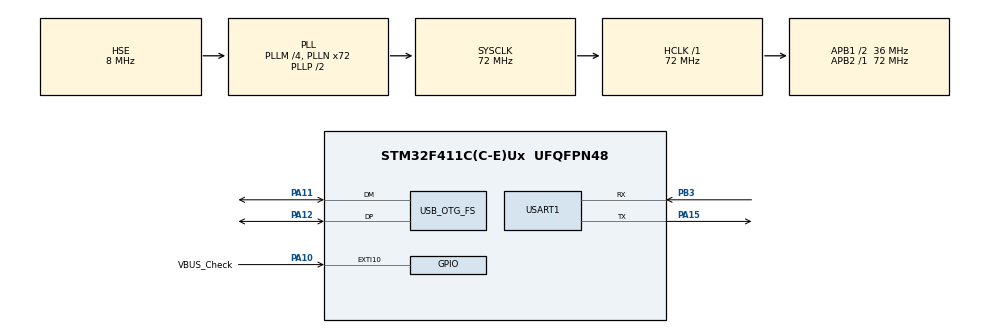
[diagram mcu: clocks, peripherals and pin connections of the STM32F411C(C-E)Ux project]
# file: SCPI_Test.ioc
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FREERTOS.Queues01=USB_ReceiveChar,256,char,0,Dynamic,NULL,NULL
FREERTOS.Tasks01=scpi_task,24,256,scpi_Task,Default,NULL,Dynamic,NULL,NULL
FREERTOS.configENABLE_FPU=1
Mcu.Family=STM32F4
Mcu.Name=STM32F411C(C-E)Ux
Mcu.Package=UFQFPN48
NVIC.EXTI15_10_IRQn=true\:5\:0\:false\:false\:true\:true\:true\:true\:true
NVIC.OTG_FS_IRQn=true\:5\:0\:false\:false\:true\:true\:false\:true\:true
NVIC.PriorityGroup=NVIC_PRIORITYGROUP_4
NVIC.TIM1_TRG_COM_TIM11_IRQn=true\:15\:0\:false\:false\:true\:false\:false\:true\:true
NVIC.TimeBase=TIM1_TRG_COM_TIM11_IRQn
NVIC.TimeBaseIP=TIM11
PA10.GPIO_Label=VBUS_Check
PA10.GPIO_ModeDefaultEXTI=GPIO_MODE_IT_RISING_FALLING
PA10.Signal=GPXTI10
PA11.Mode=Device_Only
PA11.Signal=USB_OTG_FS_DM
PA12.Mode=Device_Only
PA12.Signal=USB_OTG_FS_DP
PA13.Mode=Serial_Wire
PA13.Signal=SYS_JTMS-SWDIO
PA14.Mode=Serial_Wire
PA14.Signal=SYS_JTCK-SWCLK
PA15.Mode=Asynchronous
PA15.Signal=USART1_TX
PB3.Mode=Asynchronous
PB3.Signal=USART1_RX
PH0\ -\ OSC_IN.Mode=HSE-External-Oscillator
PH0\ -\ OSC_IN.Signal=RCC_OSC_IN
PH1\ -\ OSC_OUT.Mode=HSE-External-Oscillator
PH1\ -\ OSC_OUT.Signal=RCC_OSC_OUT
ProjectManager.HeapSize=0x200
ProjectManager.StackSize=0x400
ProjectManager.TargetToolchain=MDK-ARM V5.32
RCC.48MHZClocksFreq_Value=48000000
RCC.AHBFreq_Value=72000000
RCC.APB1CLKDivider=RCC_HCLK_DIV2
RCC.APB1Freq_Value=36000000
RCC.APB1TimFreq_Value=72000000
RCC.APB2Freq_Value=72000000
RCC.APB2TimFreq_Value=72000000
RCC.CortexFreq_Value=72000000
RCC.HCLKFreq_Value=72000000
RCC.HSE_VALUE=8000000
RCC.HSI_VALUE=16000000
RCC.LSE_VALUE=32768
RCC.PLLM=4
RCC.PLLN=72
RCC.PLLQ=3
RCC.SYSCLKFreq_VALUE=72000000
RCC.SYSCLKSource=RCC_SYSCLKSOURCE_PLLCLK
RCC.VCOOutputFreq_Value=144000000
USART1.VirtualMode=VM_ASYNC
USB_DEVICE.CLASS_NAME_FS=CDC
USB_DEVICE.VirtualMode=Cdc
USB_DEVICE.VirtualModeFS=Cdc_FS
USB_OTG_FS.VirtualMode=Device_Only
VP_FREERTOS_VS_CMSIS_V2.Mode=CMSIS_V2
VP_SYS_VS_tim11.Mode=TIM11
VP_USB_DEVICE_VS_USB_DEVICE_CDC_FS.Mode=CDC_FS
board=custom

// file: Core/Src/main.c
/* USER CODE BEGIN Header */
/**
  ******************************************************************************
  * @file           : main.c
  * @brief          : Main program body
  ******************************************************************************
  * @attention
  *
  * Copyright (c) 2026 STMicroelectronics.
  * All rights reserved.
  *
  * This software is licensed under terms that can be found in the LICENSE file
  * in the root directory of this software component.
  * If no LICENSE file comes with this software, it is provided AS-IS.
  *
  ******************************************************************************
  */
/* USER CODE END Header */
#include "main.h"
#include "cmsis_os.h"
#include "usart.h"
#include "usb_device.h"
#include "gpio.h"

void SystemClock_Config(void);
void MX_FREERTOS_Init(void);

/* USER CODE BEGIN 0 */
/* scpi_task thread handle, defined in freertos.c */
extern osThreadId_t scpi_taskHandle;
/* USER CODE END 0 */

int main(void)
{

  /* MCU Configuration--------------------------------------------------------*/

  /* Reset of all peripherals, Initializes the Flash interface and the Systick. */
  HAL_Init();

  /* Configure the system clock */
  SystemClock_Config();

  /* Initialize all configured peripherals */
  MX_GPIO_Init();
  MX_USART1_UART_Init();

  /* Init scheduler */
  osKernelInitialize();

  /* Call init function for freertos objects (in cmsis_os2.c) */
  MX_FREERTOS_Init();

  /* Start scheduler */
  osKernelStart();

  /* We should never get here as control is now taken by the scheduler */

  /* Infinite loop */
  while (1)
  {

  }
}

void SystemClock_Config(void)
{
  RCC_OscInitTypeDef RCC_OscInitStruct = {0};
  RCC_ClkInitTypeDef RCC_ClkInitStruct = {0};

  /** Configure the main internal regulator output voltage
  */
  __HAL_RCC_PWR_CLK_ENABLE();
  __HAL_PWR_VOLTAGESCALING_CONFIG(PWR_REGULATOR_VOLTAGE_SCALE1);

  /** Initializes the RCC Oscillators according to the specified parameters
  * in the RCC_OscInitTypeDef structure.
  */
  RCC_OscInitStruct.OscillatorType = RCC_OSCILLATORTYPE_HSE;
  RCC_OscInitStruct.HSEState = RCC_HSE_ON;
  RCC_OscInitStruct.PLL.PLLState = RCC_PLL_ON;
  RCC_OscInitStruct.PLL.PLLSource = RCC_PLLSOURCE_HSE;
  RCC_OscInitStruct.PLL.PLLM = 4;
  RCC_OscInitStruct.PLL.PLLN = 72;
  RCC_OscInitStruct.PLL.PLLP = RCC_PLLP_DIV2;
  RCC_OscInitStruct.PLL.PLLQ = 3;
  if (HAL_RCC_OscConfig(&RCC_OscInitStruct) != HAL_OK)
  {
    Error_Handler();
  }

  /** Initializes the CPU, AHB and APB buses clocks
  */
  RCC_ClkInitStruct.ClockType = RCC_CLOCKTYPE_HCLK|RCC_CLOCKTYPE_SYSCLK
                              |RCC_CLOCKTYPE_PCLK1|RCC_CLOCKTYPE_PCLK2;
  RCC_ClkInitStruct.SYSCLKSource = RCC_SYSCLKSOURCE_PLLCLK;
  RCC_ClkInitStruct.AHBCLKDivider = RCC_SYSCLK_DIV1;
  RCC_ClkInitStruct.APB1CLKDivider = RCC_HCLK_DIV2;
  RCC_ClkInitStruct.APB2CLKDivider = RCC_HCLK_DIV1;

  if (HAL_RCC_ClockConfig(&RCC_ClkInitStruct, FLASH_LATENCY_2) != HAL_OK)
  {
    Error_Handler();
  }
}

/* USER CODE BEGIN 4 */

/**
 * @brief  EXTI line 回调 (由 HAL_GPIO_EXTI_IRQHandler 调用).
 * @note   VBUS_Check (PA9): 高电平 = USB电缆连接, 低电平 = 断开连接.
 *         仅在此处发送通知; 启用/禁用决策由 scpi_task (带防抖)做出.
 */
void HAL_GPIO_EXTI_Callback(uint16_t GPIO_Pin)
{
  if (GPIO_Pin == VBUS_Check_Pin) {
    osThreadFlagsSet(scpi_taskHandle, VBUS_EVENT_FLAG);
  }
}
/* USER CODE END 4 */

void HAL_TIM_PeriodElapsedCallback(TIM_HandleTypeDef *htim)
{
  if (htim->Instance == TIM11) {
    HAL_IncTick();
  }
}

void Error_Handler(void)
{
  __disable_irq();
  while (1)
  {
  }
}

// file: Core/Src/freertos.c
/* USER CODE BEGIN Header */
/**
  ******************************************************************************
  * File Name          : freertos.c
  * Description        : Code for freertos applications
  ******************************************************************************
  * @attention
  *
  * Copyright (c) 2026 STMicroelectronics.
  * All rights reserved.
  *
  * This software is licensed under terms that can be found in the LICENSE file
  * in the root directory of this software component.
  * If no LICENSE file comes with this software, it is provided AS-IS.
  *
  ******************************************************************************
  */

/*
 * SPDX-License-Identifier: GPL-3.0-only
 * Copyright (C) 2026 [EERNINUO]
 *
 * [This file is part of ArbWave30.]
 *
 * ArbWave30 is free software: you can redistribute it and/or modify
 * it under the terms of the GNU General Public License as published by
 * the Free Software Foundation, version 3 of the License.
 * ...
 */

 // Assisted-by: DeepSeek - scpi_Task 具体实现

/* USER CODE END Header */

#include "FreeRTOS.h"
#include "task.h"
#include "main.h"
#include "cmsis_os.h"

/* USER CODE BEGIN Includes */
#include "scpi_def.h"
#include "usbd_core.h"
/* USER CODE END Includes */

/* USER CODE BEGIN Variables */
extern USBD_HandleTypeDef hUsbDeviceFS;
/* USER CODE END Variables */
/* Definitions for scpi_task */
osThreadId_t scpi_taskHandle;
const osThreadAttr_t scpi_task_attributes = {
  .name = "scpi_task",
  .stack_size = 256 * 4,
  .priority = (osPriority_t) osPriorityNormal,
};
/* Definitions for USB_ReceiveChar */
osMessageQueueId_t USB_ReceiveCharHandle;
const osMessageQueueAttr_t USB_ReceiveChar_attributes = {
  .name = "USB_ReceiveChar"
};

void scpi_Task(void *argument);

extern void MX_USB_DEVICE_Init(void);
void MX_FREERTOS_Init(void); /* (MISRA C 2004 rule 8.1) */

void MX_FREERTOS_Init(void) {

  /* Create the queue(s) */
  /* creation of USB_ReceiveChar */
  USB_ReceiveCharHandle = osMessageQueueNew (256, sizeof(char), &USB_ReceiveChar_attributes);

  /* Create the thread(s) */
  /* creation of scpi_task */
  scpi_taskHandle = osThreadNew(scpi_Task, NULL, &scpi_task_attributes);

}

void scpi_Task(void *argument)
{
  /* init code for USB_DEVICE */
  /* USER CODE BEGIN scpi_Task */
  // 当在 CubeMX 中 Generate 后，上面会有一条 `MX_USB_DEVICE_Init()` 调用，请手动删掉它
  char ch;
  uint32_t flags;
  static scpi_bool_t usb_started = FALSE;
  static scpi_bool_t usb_initialized = FALSE;

  // 初始化 SCPI
  ArbWave30_SCPI_Init();

  /* 无限循环
    - USB 接收到的字符被消费并输入到 SCPI 解析器中。
      当队列为空时，50 ms 的队列超时也作为 VBUS 轮询周期。
    - VBUS_Check (PA9, 高电平 = 连接电缆) 控制USB设备：
      连接时启用 (USBD_Start / 第一次调用 MX_USB_DEVICE_Init),
      断开连接时禁用 (USBD_Stop)。
  */
  for(;;) {
    if (osMessageQueueGet(USB_ReceiveCharHandle, &ch, NULL, 50) == osOK) {
      SCPI_Input(&scpi_context, &ch, 1);
    }

    // 从 EXTI9_5 获取 VBUS 边沿事件（检测 USB 线缆插入/拔出） -> 短延迟进行去抖动
    flags = osThreadFlagsWait(VBUS_EVENT_FLAG, osFlagsWaitAny, 0U);
    if ((flags & VBUS_EVENT_FLAG) != 0U) {
      osDelay(20);  // 去抖动延时

      // 启用/禁用 USB
      if (HAL_GPIO_ReadPin(VBUS_Check_GPIO_Port, VBUS_Check_Pin) == GPIO_PIN_SET) {
        if (!usb_started) {
          if (usb_initialized) {
            USBD_Start(&hUsbDeviceFS);      /* re-connect after unplug */
          } else {
            MX_USB_DEVICE_Init();                 /* first cable connection */
            usb_initialized = TRUE;
          }
          usb_started = TRUE;
        }
      } else {
        if (usb_started) {
          USBD_Stop(&hUsbDeviceFS);         /* cable disconnected */
          usb_started = FALSE;
        }
      }
    }
  }
  /* USER CODE END scpi_Task */
}
